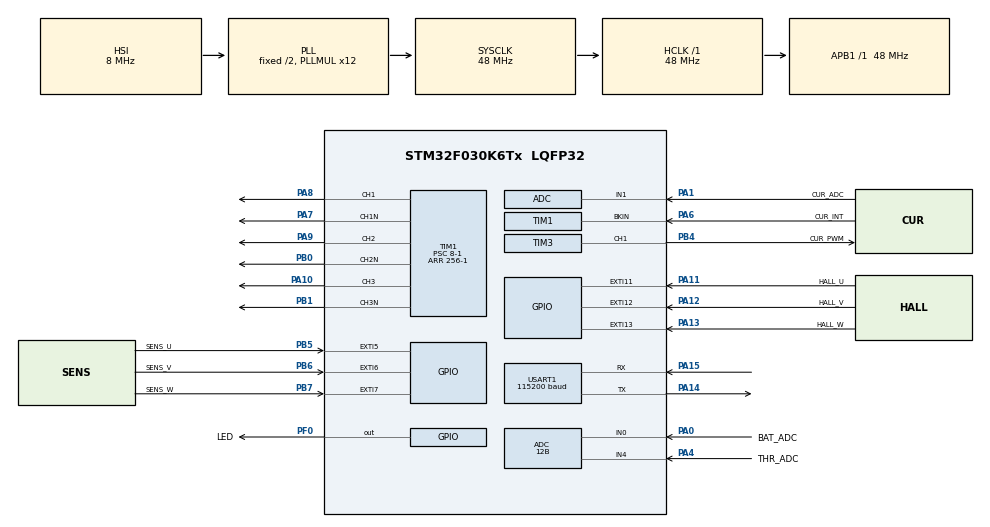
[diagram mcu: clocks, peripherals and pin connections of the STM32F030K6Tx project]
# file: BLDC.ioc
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ADC.ClockPrescaler=ADC_CLOCK_ASYNC_DIV1
ADC.ContinuousConvMode=ENABLE
ADC.DMAContinuousRequests=ENABLE
ADC.DataAlign=ADC_DATAALIGN_RIGHT
ADC.DiscontinuousConvMode=DISABLE
ADC.EOCSelection=ADC_EOC_SINGLE_CONV
ADC.EnableAnalogWatchDog=false
ADC.ExternalTrigConv=ADC_SOFTWARE_START
ADC.ExternalTrigConvEdge=ADC_EXTERNALTRIGCONVEDGE_NONE
ADC.LowPowerAutoPowerOff=DISABLE
ADC.LowPowerAutoWait=DISABLE
ADC.Overrun=ADC_OVR_DATA_PRESERVED
ADC.Resolution=ADC_RESOLUTION_12B
ADC.SamplingTime=ADC_SAMPLETIME_239CYCLES_5
ADC.ScanConvMode=ADC_SCAN_DIRECTION_FORWARD
Dma.ADC.0.Direction=DMA_PERIPH_TO_MEMORY
Dma.ADC.0.Instance=DMA1_Channel1
Dma.ADC.0.MemDataAlignment=DMA_MDATAALIGN_HALFWORD
Dma.ADC.0.MemInc=DMA_MINC_ENABLE
Dma.ADC.0.Mode=DMA_CIRCULAR
Dma.ADC.0.PeriphDataAlignment=DMA_PDATAALIGN_HALFWORD
Dma.ADC.0.PeriphInc=DMA_PINC_DISABLE
Dma.ADC.0.Priority=DMA_PRIORITY_LOW
Dma.Request0=ADC
Mcu.Family=STM32F0
Mcu.Name=STM32F030K6Tx
Mcu.Package=LQFP32
NVIC.DMA1_Channel1_IRQn=true\:0\:0\:false\:false\:true\:false
NVIC.EXTI4_15_IRQn=true\:0\:0\:false\:false\:true\:true
NVIC.TIM14_IRQn=true\:0\:0\:false\:false\:true\:true
NVIC.TIM17_IRQn=true\:0\:0\:false\:false\:true\:true
PA0.GPIO_Label=BAT_ADC
PA0.Mode=IN0
PA0.Signal=ADC_IN0
PA1.GPIO_Label=CUR_ADC
PA1.Mode=IN1
PA1.Signal=ADC_IN1
PA10.Signal=S_TIM1_CH3
PA11.GPIO_Label=HALL_U
PA11.GPIO_ModeDefaultEXTI=GPIO_MODE_IT_RISING_FALLING
PA11.GPIO_PuPd=GPIO_PULLUP
PA11.Signal=GPXTI11
PA12.GPIO_Label=HALL_V
PA12.GPIO_ModeDefaultEXTI=GPIO_MODE_IT_RISING_FALLING
PA12.GPIO_PuPd=GPIO_PULLUP
PA12.Signal=GPXTI12
PA13.GPIO_Label=HALL_W
PA13.GPIO_ModeDefaultEXTI=GPIO_MODE_IT_RISING_FALLING
PA13.GPIO_PuPd=GPIO_PULLUP
PA13.Signal=GPXTI13
PA14.Mode=Asynchronous
PA14.Signal=USART1_TX
PA15.Mode=Asynchronous
PA15.Signal=USART1_RX
PA4.GPIO_Label=THR_ADC
PA4.Mode=IN4
PA4.Signal=ADC_IN4
PA6.GPIO_Label=CUR_INT
PA6.GPIO_PuPd=GPIO_PULLUP
PA6.Mode=Activate-Break-Input
PA6.Signal=TIM1_BKIN
PA7.Mode=PWM Generation1 CH1 CH1N
PA7.Signal=TIM1_CH1N
PA8.Signal=S_TIM1_CH1
PA9.Signal=S_TIM1_CH2
PB0.Mode=PWM Generation2 CH2 CH2N
PB0.Signal=TIM1_CH2N
PB1.Mode=PWM Generation3 CH3 CH3N
PB1.Signal=TIM1_CH3N
PB4.GPIO_Label=CUR_PWM
PB4.Signal=S_TIM3_CH1
PB5.GPIO_Label=SENS_U
PB5.GPIO_ModeDefaultEXTI=GPIO_MODE_IT_RISING_FALLING
PB5.GPIO_PuPd=GPIO_PULLUP
PB5.Signal=GPXTI5
PB6.GPIO_Label=SENS_V
PB6.GPIO_PuPd=GPIO_PULLUP
PB6.Signal=GPXTI6
PB7.GPIO_Label=SENS_W
PB7.GPIO_ModeDefaultEXTI=GPIO_MODE_IT_RISING_FALLING
PB7.GPIO_PuPd=GPIO_PULLUP
PB7.Signal=GPXTI7
PF0-OSC_IN.GPIO_Label=LED
PF0-OSC_IN.GPIO_PuPd=GPIO_PULLDOWN
PF0-OSC_IN.Signal=GPIO_Output
ProjectManager.HeapSize=0x200
ProjectManager.StackSize=0x400
ProjectManager.TargetToolchain=MDK-ARM V5
RCC.AHBFreq_Value=48000000
RCC.APB1Freq_Value=48000000
RCC.APB1TimFreq_Value=48000000
RCC.HCLKFreq_Value=48000000
RCC.PLLMUL=RCC_PLL_MUL12
RCC.SYSCLKFreq_VALUE=48000000
RCC.SYSCLKSource=RCC_SYSCLKSOURCE_PLLCLK
SH.S_TIM1_CH1.0=TIM1_CH1,PWM Generation1 CH1 CH1N
SH.S_TIM1_CH2.0=TIM1_CH2,PWM Generation2 CH2 CH2N
SH.S_TIM1_CH3.0=TIM1_CH3,PWM Generation3 CH3 CH3N
SH.S_TIM3_CH1.0=TIM3_CH1,PWM Generation1 CH1
TIM1.AutomaticOutput=TIM_AUTOMATICOUTPUT_ENABLE
TIM1.Channel-PWM\ Generation1\ CH1\ CH1N=TIM_CHANNEL_1
TIM1.Channel-PWM\ Generation2\ CH2\ CH2N=TIM_CHANNEL_2
TIM1.Channel-PWM\ Generation3\ CH3\ CH3N=TIM_CHANNEL_3
TIM1.LockLevel=TIM_LOCKLEVEL_OFF
TIM1.OCFastMode_PWM-PWM\ Generation1\ CH1\ CH1N=TIM_OCFAST_ENABLE
TIM1.OCFastMode_PWM-PWM\ Generation2\ CH2\ CH2N=TIM_OCFAST_ENABLE
TIM1.OCFastMode_PWM-PWM\ Generation3\ CH3\ CH3N=TIM_OCFAST_ENABLE
TIM1.OCNIdleState_1=TIM_OCNIDLESTATE_RESET
TIM1.OCNIdleState_2=TIM_OCNIDLESTATE_RESET
TIM1.OCNIdleState_3=TIM_OCNIDLESTATE_RESET
TIM1.OffStateIDLEMode=TIM_OSSI_ENABLE
TIM1.OffStateRunMode=TIM_OSSR_DISABLE
TIM1.Period=256-1
TIM1.Prescaler=8-1
TIM14.Period=65536-1
TIM14.Prescaler=48-1
TIM17.Period=1000-1
TIM17.Prescaler=48-1
TIM3.Channel-PWM\ Generation1\ CH1=TIM_CHANNEL_1
TIM3.OCFastMode_PWM-PWM\ Generation1\ CH1=TIM_OCFAST_ENABLE
TIM3.Period=3300-1
USART1.BaudRate=115200
USART1.SwapParam=ADVFEATURE_SWAP_ENABLE
USART1.VirtualMode-Asynchronous=VM_ASYNC
VP_ADC_TempSens_Input.Mode=IN-TempSens
VP_TIM14_VS_ClockSourceINT.Mode=Enable_Timer
VP_TIM17_VS_ClockSourceINT.Mode=Enable_Timer
VP_TIM1_VS_ClockSourceINT.Mode=Internal
board=custom

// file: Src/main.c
/**
  ******************************************************************************
  * @file           : main.c
  * @brief          : Main program body
  ******************************************************************************
  ** This notice applies to any and all portions of this file
  * that are not between comment pairs USER CODE BEGIN and
  * USER CODE END. Other portions of this file, whether
  * inserted by the user or by software development tools
  * are owned by their respective copyright owners.
  *
  * COPYRIGHT(c) 2018 STMicroelectronics
  *
  * Redistribution and use in source and binary forms, with or without modification,
  * are permitted provided that the following conditions are met:
  *   1. Redistributions of source code must retain the above copyright notice,
  *      this list of conditions and the following disclaimer.
  *   2. Redistributions in binary form must reproduce the above copyright notice,
  *      this list of conditions and the following disclaimer in the documentation
  *      and/or other materials provided with the distribution.
  *   3. Neither the name of STMicroelectronics nor the names of its contributors
  *      may be used to endorse or promote products derived from this software
  *      without specific prior written permission.
  *
  * THIS SOFTWARE IS PROVIDED BY THE COPYRIGHT HOLDERS AND CONTRIBUTORS "AS IS"
  * AND ANY EXPRESS OR IMPLIED WARRANTIES, INCLUDING, BUT NOT LIMITED TO, THE
  * IMPLIED WARRANTIES OF MERCHANTABILITY AND FITNESS FOR A PARTICULAR PURPOSE ARE
  * DISCLAIMED. IN NO EVENT SHALL THE COPYRIGHT HOLDER OR CONTRIBUTORS BE LIABLE
  * FOR ANY DIRECT, INDIRECT, INCIDENTAL, SPECIAL, EXEMPLARY, OR CONSEQUENTIAL
  * DAMAGES (INCLUDING, BUT NOT LIMITED TO, PROCUREMENT OF SUBSTITUTE GOODS OR
  * SERVICES; LOSS OF USE, DATA, OR PROFITS; OR BUSINESS INTERRUPTION) HOWEVER
  * CAUSED AND ON ANY THEORY OF LIABILITY, WHETHER IN CONTRACT, STRICT LIABILITY,
  * OR TORT (INCLUDING NEGLIGENCE OR OTHERWISE) ARISING IN ANY WAY OUT OF THE USE
  * OF THIS SOFTWARE, EVEN IF ADVISED OF THE POSSIBILITY OF SUCH DAMAGE.
  *
  ******************************************************************************
  */
#include "main.h"
#include "stm32f0xx_hal.h"

ADC_HandleTypeDef hadc;
DMA_HandleTypeDef hdma_adc;

TIM_HandleTypeDef htim1;
TIM_HandleTypeDef htim3;
TIM_HandleTypeDef htim14;
TIM_HandleTypeDef htim17;

UART_HandleTypeDef huart1;

/* USER CODE BEGIN PV */
/* Private variables ---------------------------------------------------------*/

/* USER CODE END PV */

void SystemClock_Config(void);
static void MX_GPIO_Init(void);
static void MX_DMA_Init(void);
static void MX_ADC_Init(void);
static void MX_TIM3_Init(void);
static void MX_USART1_UART_Init(void);
static void MX_TIM14_Init(void);
static void MX_TIM17_Init(void);
static void MX_TIM1_Init(void);

void HAL_TIM_MspPostInit(TIM_HandleTypeDef *htim);

/* USER CODE BEGIN PFP */
/* Private function prototypes -----------------------------------------------*/

/* USER CODE END PFP */

/* USER CODE BEGIN 0 */

uint16_t adc_buf[4];
uint16_t step;
uint8_t throttle;
uint8_t stop;

int fputc(int ch, FILE *f){
	uint8_t t = ch;
	HAL_UART_Transmit(&huart1, (uint8_t *)&t, 1, 4);
	return 1;
}

void motor_loop(uint8_t force){
	static uint8_t status, last_status;

	//throttle off about 1v
	if(throttle < 1){
		htim1.Instance->CCER = 0x555;
		htim1.Instance->CCR1 = 0;
		htim1.Instance->CCR2 = 0;
		htim1.Instance->CCR3 = 0;
		return;
	}

	if(force == 1){
		status = (status + 1) % 6;
	}else if(force == 2){
		//sens
		uint8_t sens_status =	HAL_GPIO_ReadPin(SENS_U_GPIO_Port, SENS_U_Pin) << 0 |
													HAL_GPIO_ReadPin(SENS_V_GPIO_Port, SENS_V_Pin) << 1 |
													HAL_GPIO_ReadPin(SENS_W_GPIO_Port, SENS_W_Pin) << 2;

		uint8_t phase_table[] = { 0, 5, 3, 4, 1, 0, 2 };
		if(sens_status > 7 || sens_status < 1){
			return;
		}
		status = phase_table[sens_status];
	}else if(force == 3){
		//hall
		uint8_t hall_status =	HAL_GPIO_ReadPin(HALL_U_GPIO_Port, HALL_U_Pin) << 0 |
													HAL_GPIO_ReadPin(HALL_V_GPIO_Port, HALL_V_Pin) << 1 |
  												HAL_GPIO_ReadPin(HALL_W_GPIO_Port, HALL_W_Pin) << 2;

		uint8_t phase_table[] = { 0, 5, 3, 4, 1, 0, 2 };
		if(hall_status > 7 || hall_status < 1){
			return;
		}
		status = phase_table[hall_status];
	}

	//if corrent?
	if( status == ((last_status + 1) % 6) ){
		//reset timeout counter
		__HAL_TIM_SET_COUNTER(&htim14, 0);
	}
	last_status = status;

	uint8_t t = throttle;

	switch(status){
		case 0://5
			htim1.Instance->CCR2 = 0;
			htim1.Instance->CCR3 = t;
			htim1.Instance->CCER = 0x550;
			break;
		case 1://4
			htim1.Instance->CCR1 = 0;
			htim1.Instance->CCR3 = t;
			htim1.Instance->CCER = 0x505;
			break;
		case 2://6
			htim1.Instance->CCR1 = 0;
			htim1.Instance->CCR2 = t;
			htim1.Instance->CCER = 0x055;
			break;
		case 3://2
			htim1.Instance->CCR3 = 0;
			htim1.Instance->CCR2 = t;
			htim1.Instance->CCER = 0x550;
			break;
		case 4://3
			htim1.Instance->CCR3 = 0;
			htim1.Instance->CCR1 = t;
			htim1.Instance->CCER = 0x505;
			break;
		case 5://1
			htim1.Instance->CCR2 = 0;
			htim1.Instance->CCR1 = t;
			htim1.Instance->CCER = 0x055;
			break;
		}
}

void HAL_GPIO_EXTI_Callback(uint16_t GPIO_Pin){
	switch(GPIO_Pin){
		case HALL_U_Pin:
		case HALL_V_Pin:
		case HALL_W_Pin:
			motor_loop(3);
			break;
		case SENS_U_Pin:
		case SENS_V_Pin:
		case SENS_W_Pin:
			//motor_loop(2);
			break;
	}
}

void HAL_TIM_PeriodElapsedCallback(TIM_HandleTypeDef *htim)
{
    if(htim->Instance == htim14.Instance){
			//force change phase
			motor_loop(1);
		}else if(htim->Instance == htim17.Instance){
			//avg throttle
			static uint16_t throttle_raw;
			throttle_raw = ( throttle_raw + adc_buf[2] ) /2; //avg

			if(throttle_raw < 819){ // 1000mv
				throttle = 0;
			}else if(throttle_raw > 3276){ //4000mv
				throttle = 255;
			}else{
				throttle = ((throttle_raw - 819) + 1)/9.7;//9.673228346456693
			}
		}
}

/* USER CODE END 0 */

int main(void)
{

  /* MCU Configuration----------------------------------------------------------*/

  /* Reset of all peripherals, Initializes the Flash interface and the Systick. */
  HAL_Init();

  /* Configure the system clock */
  SystemClock_Config();

  /* Initialize all configured peripherals */
  MX_GPIO_Init();
  MX_DMA_Init();
  MX_ADC_Init();
  MX_TIM3_Init();
  MX_USART1_UART_Init();
  MX_TIM14_Init();
  MX_TIM17_Init();
  MX_TIM1_Init();
  /* USER CODE BEGIN 2 */

	HAL_ADC_Start_DMA(&hadc, (uint32_t*)&adc_buf, 4); //Start ADC

	HAL_TIM_PWM_Start(&htim3, TIM_CHANNEL_1);
	htim3.Instance->CCR1 = 400;

	HAL_TIM_PWM_Start(&htim1, TIM_CHANNEL_1);
	HAL_TIM_PWM_Start(&htim1, TIM_CHANNEL_2);
	HAL_TIM_PWM_Start(&htim1, TIM_CHANNEL_3);
	HAL_TIMEx_PWMN_Start(&htim1, TIM_CHANNEL_1);
	HAL_TIMEx_PWMN_Start(&htim1, TIM_CHANNEL_2);
	HAL_TIMEx_PWMN_Start(&htim1, TIM_CHANNEL_3);

	HAL_TIM_Base_Start_IT(&htim14);
	HAL_TIM_Base_Start_IT(&htim17);

  /* USER CODE END 2 */

  /* Infinite loop */
  while (1)
  {

  /* USER CODE BEGIN 3 */
		for(int i=0;i<4;i++) printf("%4d ", adc_buf[i]);
		printf("%d\n\r", throttle);

		HAL_GPIO_TogglePin(LED_GPIO_Port, LED_Pin);

		HAL_Delay(100);
  }
  /* USER CODE END 3 */

}

void SystemClock_Config(void)
{

  RCC_OscInitTypeDef RCC_OscInitStruct;
  RCC_ClkInitTypeDef RCC_ClkInitStruct;
  RCC_PeriphCLKInitTypeDef PeriphClkInit;

    /**Initializes the CPU, AHB and APB busses clocks
    */
  RCC_OscInitStruct.OscillatorType = RCC_OSCILLATORTYPE_HSI|RCC_OSCILLATORTYPE_HSI14;
  RCC_OscInitStruct.HSIState = RCC_HSI_ON;
  RCC_OscInitStruct.HSI14State = RCC_HSI14_ON;
  RCC_OscInitStruct.HSICalibrationValue = 16;
  RCC_OscInitStruct.HSI14CalibrationValue = 16;
  RCC_OscInitStruct.PLL.PLLState = RCC_PLL_ON;
  RCC_OscInitStruct.PLL.PLLSource = RCC_PLLSOURCE_HSI;
  RCC_OscInitStruct.PLL.PLLMUL = RCC_PLL_MUL12;
  RCC_OscInitStruct.PLL.PREDIV = RCC_PREDIV_DIV1;
  if (HAL_RCC_OscConfig(&RCC_OscInitStruct) != HAL_OK)
  {
    _Error_Handler(__FILE__, __LINE__);
  }

    /**Initializes the CPU, AHB and APB busses clocks
    */
  RCC_ClkInitStruct.ClockType = RCC_CLOCKTYPE_HCLK|RCC_CLOCKTYPE_SYSCLK
                              |RCC_CLOCKTYPE_PCLK1;
  RCC_ClkInitStruct.SYSCLKSource = RCC_SYSCLKSOURCE_PLLCLK;
  RCC_ClkInitStruct.AHBCLKDivider = RCC_SYSCLK_DIV1;
  RCC_ClkInitStruct.APB1CLKDivider = RCC_HCLK_DIV1;

  if (HAL_RCC_ClockConfig(&RCC_ClkInitStruct, FLASH_LATENCY_1) != HAL_OK)
  {
    _Error_Handler(__FILE__, __LINE__);
  }

  PeriphClkInit.PeriphClockSelection = RCC_PERIPHCLK_USART1;
  PeriphClkInit.Usart1ClockSelection = RCC_USART1CLKSOURCE_PCLK1;
  if (HAL_RCCEx_PeriphCLKConfig(&PeriphClkInit) != HAL_OK)
  {
    _Error_Handler(__FILE__, __LINE__);
  }

    /**Configure the Systick interrupt time
    */
  HAL_SYSTICK_Config(HAL_RCC_GetHCLKFreq()/1000);

    /**Configure the Systick
    */
  HAL_SYSTICK_CLKSourceConfig(SYSTICK_CLKSOURCE_HCLK);

  /* SysTick_IRQn interrupt configuration */
  HAL_NVIC_SetPriority(SysTick_IRQn, 0, 0);
}

/* ADC init function */
static void MX_ADC_Init(void)
{

  ADC_ChannelConfTypeDef sConfig;

    /**Configure the global features of the ADC (Clock, Resolution, Data Alignment and number of conversion)
    */
  hadc.Instance = ADC1;
  hadc.Init.ClockPrescaler = ADC_CLOCK_ASYNC_DIV1;
  hadc.Init.Resolution = ADC_RESOLUTION_12B;
  hadc.Init.DataAlign = ADC_DATAALIGN_RIGHT;
  hadc.Init.ScanConvMode = ADC_SCAN_DIRECTION_FORWARD;
  hadc.Init.EOCSelection = ADC_EOC_SINGLE_CONV;
  hadc.Init.LowPowerAutoWait = DISABLE;
  hadc.Init.LowPowerAutoPowerOff = DISABLE;
  hadc.Init.ContinuousConvMode = ENABLE;
  hadc.Init.DiscontinuousConvMode = DISABLE;
  hadc.Init.ExternalTrigConv = ADC_SOFTWARE_START;
  hadc.Init.ExternalTrigConvEdge = ADC_EXTERNALTRIGCONVEDGE_NONE;
  hadc.Init.DMAContinuousRequests = ENABLE;
  hadc.Init.Overrun = ADC_OVR_DATA_PRESERVED;
  if (HAL_ADC_Init(&hadc) != HAL_OK)
  {
    _Error_Handler(__FILE__, __LINE__);
  }

    /**Configure for the selected ADC regular channel to be converted.
    */
  sConfig.Channel = ADC_CHANNEL_0;
  sConfig.Rank = ADC_RANK_CHANNEL_NUMBER;
  sConfig.SamplingTime = ADC_SAMPLETIME_239CYCLES_5;
  if (HAL_ADC_ConfigChannel(&hadc, &sConfig) != HAL_OK)
  {
    _Error_Handler(__FILE__, __LINE__);
  }

    /**Configure for the selected ADC regular channel to be converted.
    */
  sConfig.Channel = ADC_CHANNEL_1;
  if (HAL_ADC_ConfigChannel(&hadc, &sConfig) != HAL_OK)
  {
    _Error_Handler(__FILE__, __LINE__);
  }

    /**Configure for the selected ADC regular channel to be converted.
    */
  sConfig.Channel = ADC_CHANNEL_4;
  if (HAL_ADC_ConfigChannel(&hadc, &sConfig) != HAL_OK)
  {
    _Error_Handler(__FILE__, __LINE__);
  }

    /**Configure for the selected ADC regular channel to be converted.
    */
  sConfig.Channel = ADC_CHANNEL_TEMPSENSOR;
  if (HAL_ADC_ConfigChannel(&hadc, &sConfig) != HAL_OK)
  {
    _Error_Handler(__FILE__, __LINE__);
  }

}

/* TIM1 init function */
static void MX_TIM1_Init(void)
{

  TIM_ClockConfigTypeDef sClockSourceConfig;
  TIM_MasterConfigTypeDef sMasterConfig;
  TIM_OC_InitTypeDef sConfigOC;
  TIM_BreakDeadTimeConfigTypeDef sBreakDeadTimeConfig;

  htim1.Instance = TIM1;
  htim1.Init.Prescaler = 8-1;
  htim1.Init.CounterMode = TIM_COUNTERMODE_UP;
  htim1.Init.Period = 256-1;
  htim1.Init.ClockDivision = TIM_CLOCKDIVISION_DIV1;
  htim1.Init.RepetitionCounter = 0;
  htim1.Init.AutoReloadPreload = TIM_AUTORELOAD_PRELOAD_DISABLE;
  if (HAL_TIM_Base_Init(&htim1) != HAL_OK)
  {
    _Error_Handler(__FILE__, __LINE__);
  }

  sClockSourceConfig.ClockSource = TIM_CLOCKSOURCE_INTERNAL;
  if (HAL_TIM_ConfigClockSource(&htim1, &sClockSourceConfig) != HAL_OK)
  {
    _Error_Handler(__FILE__, __LINE__);
  }

  if (HAL_TIM_PWM_Init(&htim1) != HAL_OK)
  {
    _Error_Handler(__FILE__, __LINE__);
  }

  sMasterConfig.MasterOutputTrigger = TIM_TRGO_RESET;
  sMasterConfig.MasterSlaveMode = TIM_MASTERSLAVEMODE_DISABLE;
  if (HAL_TIMEx_MasterConfigSynchronization(&htim1, &sMasterConfig) != HAL_OK)
  {
    _Error_Handler(__FILE__, __LINE__);
  }

  sConfigOC.OCMode = TIM_OCMODE_PWM1;
  sConfigOC.Pulse = 0;
  sConfigOC.OCPolarity = TIM_OCPOLARITY_HIGH;
  sConfigOC.OCNPolarity = TIM_OCNPOLARITY_HIGH;
  sConfigOC.OCFastMode = TIM_OCFAST_ENABLE;
  sConfigOC.OCIdleState = TIM_OCIDLESTATE_RESET;
  sConfigOC.OCNIdleState = TIM_OCNIDLESTATE_RESET;
  if (HAL_TIM_PWM_ConfigChannel(&htim1, &sConfigOC, TIM_CHANNEL_1) != HAL_OK)
  {
    _Error_Handler(__FILE__, __LINE__);
  }

  if (HAL_TIM_PWM_ConfigChannel(&htim1, &sConfigOC, TIM_CHANNEL_2) != HAL_OK)
  {
    _Error_Handler(__FILE__, __LINE__);
  }

  if (HAL_TIM_PWM_ConfigChannel(&htim1, &sConfigOC, TIM_CHANNEL_3) != HAL_OK)
  {
    _Error_Handler(__FILE__, __LINE__);
  }

  sBreakDeadTimeConfig.OffStateRunMode = TIM_OSSR_DISABLE;
  sBreakDeadTimeConfig.OffStateIDLEMode = TIM_OSSI_ENABLE;
  sBreakDeadTimeConfig.LockLevel = TIM_LOCKLEVEL_OFF;
  sBreakDeadTimeConfig.DeadTime = 0;
  sBreakDeadTimeConfig.BreakState = TIM_BREAK_ENABLE;
  sBreakDeadTimeConfig.BreakPolarity = TIM_BREAKPOLARITY_HIGH;
  sBreakDeadTimeConfig.AutomaticOutput = TIM_AUTOMATICOUTPUT_ENABLE;
  if (HAL_TIMEx_ConfigBreakDeadTime(&htim1, &sBreakDeadTimeConfig) != HAL_OK)
  {
    _Error_Handler(__FILE__, __LINE__);
  }

  HAL_TIM_MspPostInit(&htim1);

}

/* TIM3 init function */
static void MX_TIM3_Init(void)
{

  TIM_MasterConfigTypeDef sMasterConfig;
  TIM_OC_InitTypeDef sConfigOC;

  htim3.Instance = TIM3;
  htim3.Init.Prescaler = 0;
  htim3.Init.CounterMode = TIM_COUNTERMODE_UP;
  htim3.Init.Period = 3300-1;
  htim3.Init.ClockDivision = TIM_CLOCKDIVISION_DIV1;
  htim3.Init.AutoReloadPreload = TIM_AUTORELOAD_PRELOAD_DISABLE;
  if (HAL_TIM_PWM_Init(&htim3) != HAL_OK)
  {
    _Error_Handler(__FILE__, __LINE__);
  }

  sMasterConfig.MasterOutputTrigger = TIM_TRGO_RESET;
  sMasterConfig.MasterSlaveMode = TIM_MASTERSLAVEMODE_DISABLE;
  if (HAL_TIMEx_MasterConfigSynchronization(&htim3, &sMasterConfig) != HAL_OK)
  {
    _Error_Handler(__FILE__, __LINE__);
  }

  sConfigOC.OCMode = TIM_OCMODE_PWM1;
  sConfigOC.Pulse = 0;
  sConfigOC.OCPolarity = TIM_OCPOLARITY_HIGH;
  sConfigOC.OCFastMode = TIM_OCFAST_ENABLE;
  if (HAL_TIM_PWM_ConfigChannel(&htim3, &sConfigOC, TIM_CHANNEL_1) != HAL_OK)
  {
    _Error_Handler(__FILE__, __LINE__);
  }

  HAL_TIM_MspPostInit(&htim3);

}

/* TIM14 init function */
static void MX_TIM14_Init(void)
{

  htim14.Instance = TIM14;
  htim14.Init.Prescaler = 48-1;
  htim14.Init.CounterMode = TIM_COUNTERMODE_UP;
  htim14.Init.Period = 65536-1;
  htim14.Init.ClockDivision = TIM_CLOCKDIVISION_DIV1;
  htim14.Init.AutoReloadPreload = TIM_AUTORELOAD_PRELOAD_DISABLE;
  if (HAL_TIM_Base_Init(&htim14) != HAL_OK)
  {
    _Error_Handler(__FILE__, __LINE__);
  }

}

/* TIM17 init function */
static void MX_TIM17_Init(void)
{

  htim17.Instance = TIM17;
  htim17.Init.Prescaler = 48-1;
  htim17.Init.CounterMode = TIM_COUNTERMODE_UP;
  htim17.Init.Period = 1000-1;
  htim17.Init.ClockDivision = TIM_CLOCKDIVISION_DIV1;
  htim17.Init.RepetitionCounter = 0;
  htim17.Init.AutoReloadPreload = TIM_AUTORELOAD_PRELOAD_DISABLE;
  if (HAL_TIM_Base_Init(&htim17) != HAL_OK)
  {
    _Error_Handler(__FILE__, __LINE__);
  }

}

/* USART1 init function */
static void MX_USART1_UART_Init(void)
{

  huart1.Instance = USART1;
  huart1.Init.BaudRate = 115200;
  huart1.Init.WordLength = UART_WORDLENGTH_8B;
  huart1.Init.StopBits = UART_STOPBITS_1;
  huart1.Init.Parity = UART_PARITY_NONE;
  huart1.Init.Mode = UART_MODE_TX_RX;
  huart1.Init.HwFlowCtl = UART_HWCONTROL_NONE;
  huart1.Init.OverSampling = UART_OVERSAMPLING_16;
  huart1.Init.OneBitSampling = UART_ONE_BIT_SAMPLE_DISABLE;
  huart1.AdvancedInit.AdvFeatureInit = UART_ADVFEATURE_SWAP_INIT;
  huart1.AdvancedInit.Swap = UART_ADVFEATURE_SWAP_ENABLE;
  if (HAL_UART_Init(&huart1) != HAL_OK)
  {
    _Error_Handler(__FILE__, __LINE__);
  }

}

static void MX_DMA_Init(void)
{
  /* DMA controller clock enable */
  __HAL_RCC_DMA1_CLK_ENABLE();

  /* DMA interrupt init */
  /* DMA1_Channel1_IRQn interrupt configuration */
  HAL_NVIC_SetPriority(DMA1_Channel1_IRQn, 0, 0);
  HAL_NVIC_EnableIRQ(DMA1_Channel1_IRQn);

}

/** Configure pins as
        * Analog
        * Input
        * Output
        * EVENT_OUT
        * EXTI
*/
static void MX_GPIO_Init(void)
{

  GPIO_InitTypeDef GPIO_InitStruct;

  /* GPIO Ports Clock Enable */
  __HAL_RCC_GPIOF_CLK_ENABLE();
  __HAL_RCC_GPIOA_CLK_ENABLE();
  __HAL_RCC_GPIOB_CLK_ENABLE();

  /*Configure GPIO pin Output Level */
  HAL_GPIO_WritePin(LED_GPIO_Port, LED_Pin, GPIO_PIN_RESET);

  /*Configure GPIO pin : LED_Pin */
  GPIO_InitStruct.Pin = LED_Pin;
  GPIO_InitStruct.Mode = GPIO_MODE_OUTPUT_PP;
  GPIO_InitStruct.Pull = GPIO_PULLDOWN;
  GPIO_InitStruct.Speed = GPIO_SPEED_FREQ_LOW;
  HAL_GPIO_Init(LED_GPIO_Port, &GPIO_InitStruct);

  /*Configure GPIO pins : HALL_U_Pin HALL_V_Pin HALL_W_Pin */
  GPIO_InitStruct.Pin = HALL_U_Pin|HALL_V_Pin|HALL_W_Pin;
  GPIO_InitStruct.Mode = GPIO_MODE_IT_RISING_FALLING;
  GPIO_InitStruct.Pull = GPIO_PULLUP;
  HAL_GPIO_Init(GPIOA, &GPIO_InitStruct);

  /*Configure GPIO pins : SENS_U_Pin SENS_W_Pin */
  GPIO_InitStruct.Pin = SENS_U_Pin|SENS_W_Pin;
  GPIO_InitStruct.Mode = GPIO_MODE_IT_RISING_FALLING;
  GPIO_InitStruct.Pull = GPIO_PULLUP;
  HAL_GPIO_Init(GPIOB, &GPIO_InitStruct);

  /*Configure GPIO pin : SENS_V_Pin */
  GPIO_InitStruct.Pin = SENS_V_Pin;
  GPIO_InitStruct.Mode = GPIO_MODE_IT_RISING;
  GPIO_InitStruct.Pull = GPIO_PULLUP;
  HAL_GPIO_Init(SENS_V_GPIO_Port, &GPIO_InitStruct);

  /* EXTI interrupt init*/
  HAL_NVIC_SetPriority(EXTI4_15_IRQn, 0, 0);
  HAL_NVIC_EnableIRQ(EXTI4_15_IRQn);

}

void _Error_Handler(char *file, int line)
{
  while(1)
  {
  }
}

/************************ (C) COPYRIGHT STMicroelectronics *****END OF FILE****/
